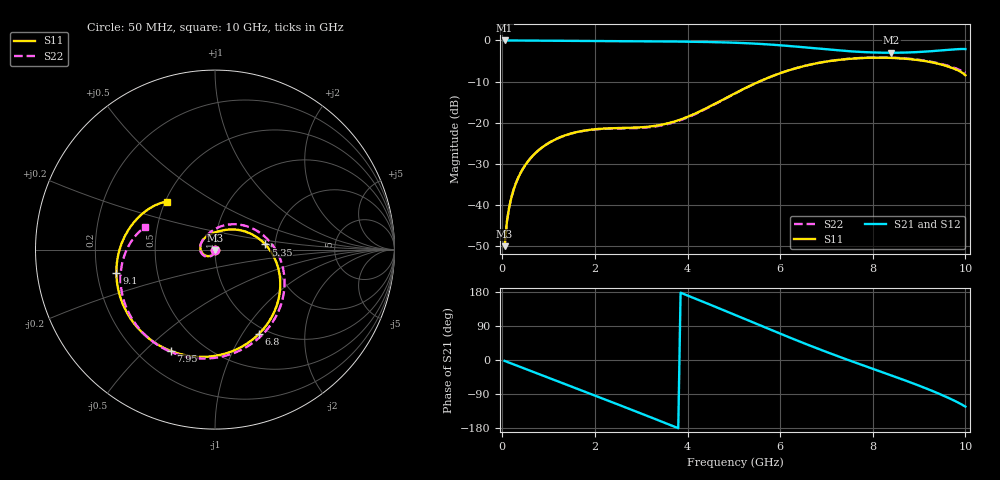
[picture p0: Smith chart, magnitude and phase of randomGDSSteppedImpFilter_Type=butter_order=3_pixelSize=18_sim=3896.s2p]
! freq	dB(S11)	phase(S11)	dB(S12)	phase(S12)
!  dB(S21)	phase(S21)	dB(S22)	phase(S22)
!S-par simulation data
#  GHz  S  DB  R 50
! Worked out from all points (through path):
!   200 points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, 50 MHz to 10 GHz, reference 50 ohm
!   highest |S21| = -0.01 dB at 50 MHz (marker M1); lowest = -3.0 dB at 8.4 GHz (marker M2)
!   group delay of S21, straight-line fit = 134 ps
!   lowest |S11| = -50.0 dB at 50 MHz (marker M3), VSWR 1.01, Z = 50 - j0.316 ohm
!   |S11| at or under -10 dB: start of sweep to 5.546 GHz
!   |S22| runs from -50.0 to -4.1 dB; largest |S21 - S12| = 0
!   S11 on the Smith chart (normalised r, x): 50 MHz: 1.00, -0.01; 5.35 GHz: 1.77, +0.11; 6.8 GHz: 0.91, -1.19; 7.95 GHz: 0.33, -0.60; 9.1 GHz: 0.28, -0.11; 10 GHz: 0.51, +0.32
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0.05  -49.99 -87.6  -0.01 -2.4  -0.01 -2.4  -49.99 -87.3
0.1  -43.98 -92.6  -0.01 -4.7  -0.01 -4.7  -43.98 -92.1
0.2  -37.99 -99.0  -0.02 -9.5  -0.02 -9.5  -37.98 -98.0
0.5  -30.23 -115.0  -0.03 -23.6  -0.03 -23.6  -30.23 -112.5
1.15  -24.02 -148.4  -0.08 -54.0  -0.08 -54.0  -24.03 -142.2
1.75  -21.95 -179.1  -0.12 -82.1  -0.12 -82.1  -21.99 -168.6
2.5  -21.30 141.4  -0.17 -117.5  -0.17 -117.5  -21.39 159.0
3.4  -20.57 94.4  -0.24 -160.5  -0.24 -160.5  -20.73 118.7
3.8  -19.40 75.3  -0.28 -180.0  -0.28 -180.0  -19.56 99.0
4.2  -17.59 57.4  -0.34 160.4  -0.34 160.4  -17.72 78.1
5.05  -12.69 19.7  -0.57 117.7  -0.57 117.7  -12.74 32.5
5.35  -11.01 5.9  -0.71 102.5  -0.71 102.5  -11.05 16.5
5.95  -8.16 -22.4  -1.13 72.1  -1.13 72.1  -8.17 -14.6
6.7  -5.76 -57.7  -1.87 35.3  -1.87 35.3  -5.75 -51.6
6.8  -5.53 -62.4  -1.97 30.6  -1.97 30.6  -5.52 -56.3
7.4  -4.57 -89.4  -2.55 3.1  -2.55 3.1  -4.54 -83.4
7.95  -4.21 -113.6  -2.90 -21.1  -2.90 -21.1  -4.17 -106.9
8.35  -4.22 -131.2  -3.00 -38.4  -3.00 -38.4  -4.17 -123.6
8.4  -4.24 -133.5  -3.00 -40.6  -3.00 -40.6  -4.19 -125.7
9.1  -4.97 -166.9  -2.74 -72.5  -2.74 -72.5  -4.88 -155.7
9.6  -6.24 164.8  -2.32 -98.1  -2.32 -98.1  -6.08 -178.8
10  -8.46 134.8  -2.10 -123.0  -2.10 -123.0  -7.79 161.8
